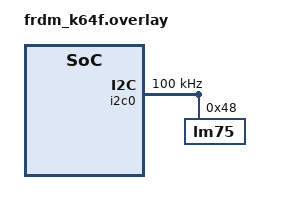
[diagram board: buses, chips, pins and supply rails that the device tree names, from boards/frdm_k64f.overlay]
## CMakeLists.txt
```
# SPDX-License-Identifier: Apache-2.0

cmake_minimum_required(VERSION 3.20.0)
find_package(Zephyr REQUIRED HINTS $ENV{ZEPHYR_BASE})
project(lm75)

FILE(GLOB app_sources src/*.c)
target_sources(app PRIVATE ${app_sources})
```

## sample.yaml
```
sample:
  name: LM75 Sensor Sample
tests:
  sample.sensor.lm75:
    harness: sensor
    tags: sensors
    platform_allow: thingy52_nrf52832
    depends_on: i2c
```

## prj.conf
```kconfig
CONFIG_STDOUT_CONSOLE=y
CONFIG_I2C=y
CONFIG_SENSOR=y
CONFIG_LM75=y
CONFIG_CBPRINTF_FP_SUPPORT=y
```

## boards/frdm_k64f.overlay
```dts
/*
 * Copyright (c) 2019 Linaro Limited
 *
 * SPDX-License-Identifier: Apache-2.0
 */

&i2c0 {
	status = "okay";
	clock-frequency = <I2C_BITRATE_STANDARD>;
	adt7420@48 {
		compatible = "lm75";
		reg = <0x48>;
		label = "LM75";
	};
};
```

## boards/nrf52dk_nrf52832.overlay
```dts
/*
 * Copyright (c) 2019 Linaro Limited
 *
 * SPDX-License-Identifier: Apache-2.0
 */

&i2c0 { /* SDA P0.26, SCL P0.27, ALERT P0.11 */
	status = "okay";
	clock-frequency = <I2C_BITRATE_STANDARD>;
	lm75@48 {
		compatible = "lm75";
		reg = <0x48>;
		label = "LM75";
	};
};
```

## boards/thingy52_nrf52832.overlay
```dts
/*
 * Copyright (c) 2019 Linaro Limited
 *
 * SPDX-License-Identifier: Apache-2.0
 */

&i2c1 { /* SDA P0.26, SCL P0.27, ALERT P0.11 */
	status = "okay";
	clock-frequency = <I2C_BITRATE_STANDARD>;
	lm75@48 {
		compatible = "lm75";
		reg = <0x48>;
		label = "LM75";
	};
};
```

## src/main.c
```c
/*
 * Copyright (c) 2018 Analog Devices Inc.
 *
 * SPDX-License-Identifier: Apache-2.0
 */

#include <zephyr.h>
#include <device.h>
#include <drivers/sensor.h>
#include <stdio.h>
#include <sys/__assert.h>

#define DELAY_WITHOUT_TRIGGER K_SECONDS(1)

#define ATMEL_AT30TS75A 1

#if ATMEL_AT30TS75A
#define ATMEL_AT30TS75A_CONFIG_SHUTDOWN_MODE_BIT 0
#define ATMEL_AT30TS75A_CONFIG_ALARM_THERMO_MODE_BIT 1
#define ATMEL_AT30TS75A_CONFIG_ALERT_PIN_POL_BIT 2
#define ATMEL_AT30TS75A_CONFIG_FAULT_TOL_QUEUE_BITS 3
#define ATMEL_AT30TS75A_CONFIG_RESOLUTION_BITS 5
#define ATMEL_AT30TS75A_CONFIG_ONE_SHOT_MODE_BIT 7
#endif

static const char *now_str(void)
{
	static char buf[16]; /* ...HH:MM:SS.MMM */
	uint32_t now = k_uptime_get_32();
	unsigned int ms = now % MSEC_PER_SEC;
	unsigned int s;
	unsigned int min;
	unsigned int h;

	now /= MSEC_PER_SEC;
	s = now % 60U;
	now /= 60U;
	min = now % 60U;
	now /= 60U;
	h = now;

	snprintf(buf, sizeof(buf), "%u:%02u:%02u.%03u",
		 h, min, s, ms);
	return buf;
}

#if ATMEL_AT30TS75A
uint8_t set_bits(uint8_t *byte, uint8_t bit_num,
                 uint8_t bit_mask_val, uint8_t bit_val)
{
	uint8_t bit_mask = (bit_mask_val << bit_num);

	*byte = (*byte & (~bit_mask)) | (bit_val << 5);
}

static int sensor_set_configuration(const struct device *dev,
				enum sensor_channel chan,
				enum sensor_attribute attr, int value)
{
	int ret;
	struct sensor_value config_val = {
		.val1 = 0,
		.val2 = 0
	};

	uint8_t res_bit_set;
	switch (value) {
        case (9):
            res_bit_set = 0;
            break;
        case (10):
            res_bit_set = 1;
            break;
        case (11):
            res_bit_set = 2;
            break;
        case (12):
            res_bit_set = 3;
            break;
	};

	set_bits(&config_val.val1, ATMEL_AT30TS75A_CONFIG_RESOLUTION_BITS, 
             res_bit_set, 3);
	config_val.val2 = 0x0;  /* LSB of ATMEL AT30TS75A config register are reserved for future use */

    /* Additional configurations can be added here */

	ret = sensor_attr_set(dev, chan, attr, &config_val);
	if (ret) {
		printf("sensor_attr_set failed ret %d\n", ret);
	}

	return ret;
}
#endif

static void process(const struct device *dev)
{
	struct sensor_value temp_val;
	int ret;


	/* Set resolution to 12 bit */
	#if ATMEL_AT30TS75A
	sensor_set_configuration(dev, SENSOR_CHAN_AMBIENT_TEMP, 
                             SENSOR_ATTR_CONFIGURATION, 12);
	#endif

	while (1) {
		ret = sensor_sample_fetch(dev);
		if (ret) {
			printf("sensor_sample_fetch failed ret %d\n", ret);
			return;
		}

		ret = sensor_channel_get(dev, SENSOR_CHAN_AMBIENT_TEMP,
					 &temp_val);
		if (ret) {
			printf("sensor_channel_get failed ret %d\n", ret);
			return;
		}

		printf("[%s]: temperature %.6f Cel\n", now_str(),
		       sensor_value_to_double(&temp_val));

		k_sleep(DELAY_WITHOUT_TRIGGER);
	}
}

void main(void)
{
	const struct device *dev = device_get_binding(DT_LABEL(DT_INST(0, lm75)));

	if (dev == NULL) {
		printf("Failed to get device binding\n");
		return;
	}

	printf("device is %p, name is %s\n", dev, dev->name);

	process(dev);
}
```
